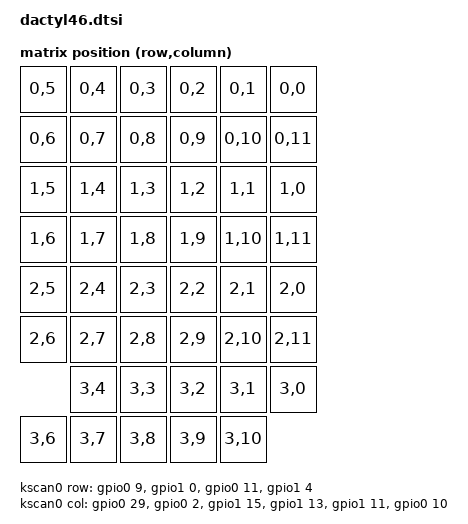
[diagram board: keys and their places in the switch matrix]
#include <dt-bindings/zmk/matrix_transform.h>
#include <dt-bindings/gpio/gpio.h>

/ {
    chosen {
        zmk,kscan = &kscan0;
        zmk,matrix-transform = &default_transform;
    };

    kscan0: kscan0 {
        compatible = "zmk,kscan-gpio-matrix";
        diode-direction = "col2row";
        wakeup-source;

        debounce-press-ms = <5>;
        debounce-release-ms = <10>;

        row-gpios = <
            &gpio0 9  (GPIO_ACTIVE_HIGH | GPIO_PULL_DOWN)
            &gpio1 0  (GPIO_ACTIVE_HIGH | GPIO_PULL_DOWN)
            &gpio0 11 (GPIO_ACTIVE_HIGH | GPIO_PULL_DOWN)
            &gpio1 4  (GPIO_ACTIVE_HIGH | GPIO_PULL_DOWN)
        >;

        col-gpios = <
            &gpio0 29 GPIO_ACTIVE_HIGH
            &gpio0 2  GPIO_ACTIVE_HIGH
            &gpio1 15 GPIO_ACTIVE_HIGH
            &gpio1 13 GPIO_ACTIVE_HIGH
            &gpio1 11 GPIO_ACTIVE_HIGH
            &gpio0 10 GPIO_ACTIVE_HIGH
        >;
    };

    /*
     * Полная логическая раскладка = 46 позиций:
     * 23 слева + 23 справа.
     *
     * Левая половина:
     * верхние 3 ряда: C5 C4 C3 C2 C1 C0
     * нижний ряд:     C4 C3 C2 C1 C0
     *
     * Правая половина:
     * верхние 3 ряда: C0 C1 C2 C3 C4 C5
     * нижний ряд:     C0 C1 C2 C3 C4
     *
     * Для правой половины ниже в right.overlay будет задан col-offset = <6>.
     */
    default_transform: matrix_transform {
        compatible = "zmk,matrix-transform";
        rows = <4>;
        columns = <12>;

        map = <
            /* Row 0 */
            RC(0,5)  RC(0,4)  RC(0,3)  RC(0,2)  RC(0,1)  RC(0,0)
            RC(0,6)  RC(0,7)  RC(0,8)  RC(0,9)  RC(0,10) RC(0,11)

            /* Row 1 */
            RC(1,5)  RC(1,4)  RC(1,3)  RC(1,2)  RC(1,1)  RC(1,0)
            RC(1,6)  RC(1,7)  RC(1,8)  RC(1,9)  RC(1,10) RC(1,11)

            /* Row 2 */
            RC(2,5)  RC(2,4)  RC(2,3)  RC(2,2)  RC(2,1)  RC(2,0)
            RC(2,6)  RC(2,7)  RC(2,8)  RC(2,9)  RC(2,10) RC(2,11)

            /* Row 3: 5 + 5 */
                     RC(3,4)  RC(3,3)  RC(3,2)  RC(3,1)  RC(3,0)
            RC(3,6)  RC(3,7)  RC(3,8)  RC(3,9)  RC(3,10)
        >;
    };
};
